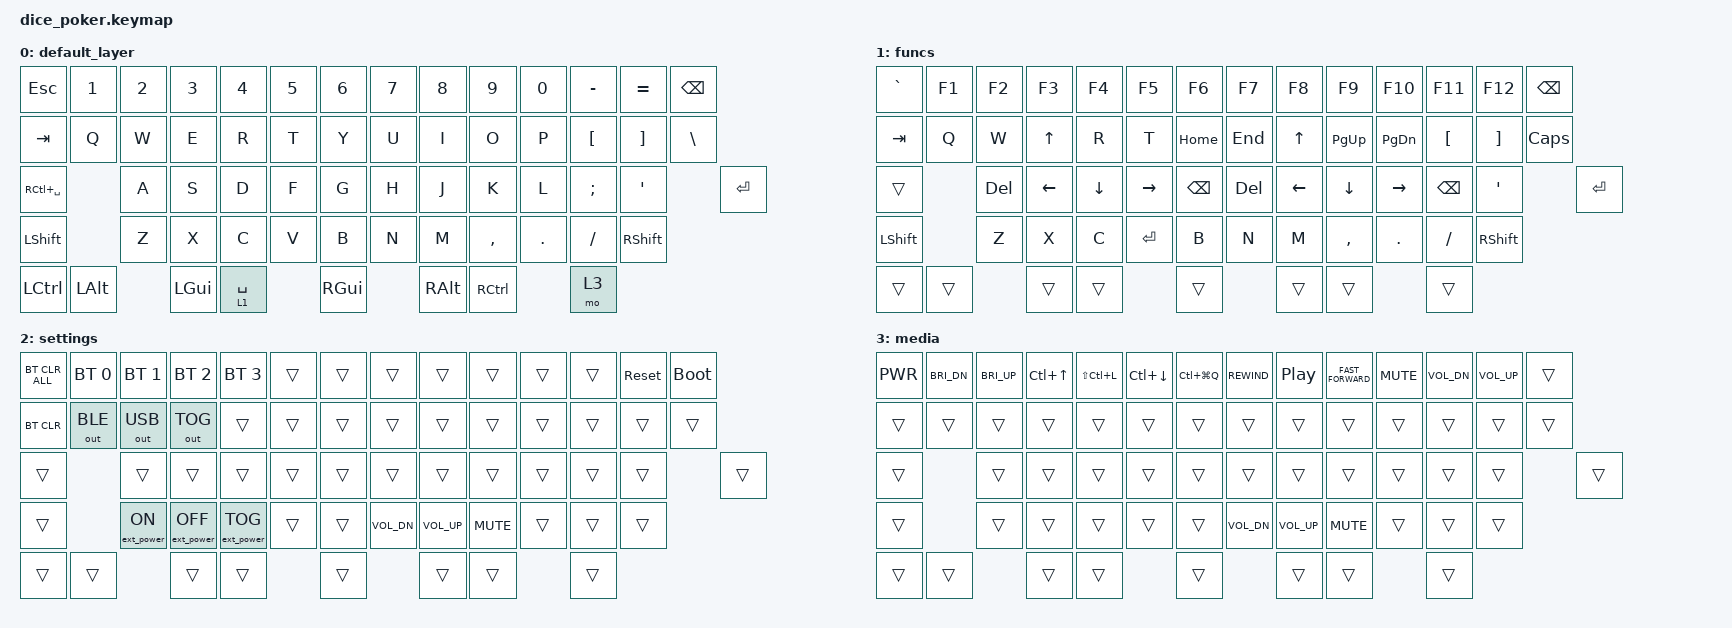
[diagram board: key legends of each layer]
/*
 * Copyright (c) 2021 Nick Winans
 *
 * SPDX-License-Identifier: MIT
 */

#include <behaviors.dtsi>
#include <dt-bindings/zmk/bt.h>
#include <dt-bindings/zmk/ext_power.h>
#include <dt-bindings/zmk/keys.h>
#include <dt-bindings/zmk/outputs.h>

/ {
    combos {
        compatible = "zmk,combos";

        mo2 {
            bindings = <&mo 2>;
            key-positions = <60 52>;
        };
    };

    keymap {
        compatible = "zmk,keymap";

        default_layer {
            bindings = <
&kp ESC        &kp N1    &kp N2  &kp N3    &kp N4       &kp N5  &kp N6    &kp N7  &kp N8    &kp N9             &kp N0   &kp MINUS  &kp EQUAL  &kp BSPC
&kp TAB        &kp Q     &kp W   &kp E     &kp R        &kp T   &kp Y     &kp U   &kp I     &kp O              &kp P    &kp LBKT   &kp RBKT             &kp BSLH
&kp RC(SPACE)            &kp A   &kp S     &kp D        &kp F   &kp G     &kp H   &kp J     &kp K              &kp L    &kp SEMI   &kp SQT              &kp RET
&kp LSHFT                &kp Z   &kp X     &kp C        &kp V   &kp B     &kp N   &kp M     &kp COMMA          &kp DOT  &kp FSLH   &kp RSHFT
&kp LCTRL      &kp LALT          &kp LGUI  &lt 1 SPACE          &kp RGUI          &kp RALT  &kp RIGHT_CONTROL           &mo 3
            >;
        };

        funcs {
            bindings = <
&kp GRAVE  &kp F1  &kp F2   &kp F3    &kp F4    &kp F5     &kp F6         &kp F7   &kp F8    &kp F9       &kp F10        &kp F11        &kp F12    &kp BSPC
&kp TAB    &kp Q   &kp W    &kp UP    &kp R     &kp T      &kp HOME       &kp END  &kp UP    &kp PAGE_UP  &kp PAGE_DOWN  &kp LBKT       &kp RBKT             &kp CAPS
&trans             &kp DEL  &kp LEFT  &kp DOWN  &kp RIGHT  &kp BACKSPACE  &kp DEL  &kp LEFT  &kp DOWN     &kp RIGHT      &kp BACKSPACE  &kp SQT              &kp RET
&kp LSHFT          &kp Z    &kp X     &kp C     &kp RET    &kp B          &kp N    &kp M     &kp COMMA    &kp DOT        &kp FSLH       &kp RSHFT
&trans     &trans           &trans    &trans               &trans                  &trans    &trans                      &trans
            >;
        };

        settings {
            bindings = <
&bt BT_CLR_ALL  &bt BT_SEL 0  &bt BT_SEL 1      &bt BT_SEL 2       &bt BT_SEL 3       &trans  &trans  &trans        &trans        &trans      &trans  &trans  &sys_reset  &bootloader
&bt BT_CLR      &out OUT_BLE  &out OUT_USB      &out OUT_TOG       &trans             &trans  &trans  &trans        &trans        &trans      &trans  &trans  &trans                   &trans
&trans                        &trans            &trans             &trans             &trans  &trans  &trans        &trans        &trans      &trans  &trans  &trans                   &trans
&trans                        &ext_power EP_ON  &ext_power EP_OFF  &ext_power EP_TOG  &trans  &trans  &kp C_VOL_DN  &kp C_VOL_UP  &kp C_MUTE  &trans  &trans  &trans
&trans          &trans                          &trans             &trans                     &trans                &trans        &trans              &trans
            >;
        };

        media {
            bindings = <
&kp C_PWR  &kp C_BRI_DN  &kp C_BRI_UP  &kp LC(UP)  &kp LS(LC(L))  &kp LC(DOWN)  &kp LC(LG(Q))  &kp C_REWIND  &kp C_PLAY_PAUSE  &kp C_FAST_FORWARD  &kp C_MUTE  &kp C_VOL_DN  &kp C_VOL_UP  &trans
&trans     &trans        &trans        &trans      &trans         &trans        &trans         &trans        &trans            &trans              &trans      &trans        &trans                &trans
&trans                   &trans        &trans      &trans         &trans        &trans         &trans        &trans            &trans              &trans      &trans        &trans                &trans
&trans                   &trans        &trans      &trans         &trans        &trans         &kp C_VOL_DN  &kp C_VOL_UP      &kp C_MUTE          &trans      &trans        &trans
&trans     &trans                      &trans      &trans                       &trans                       &trans            &trans                          &trans
            >;
        };
    };
};
